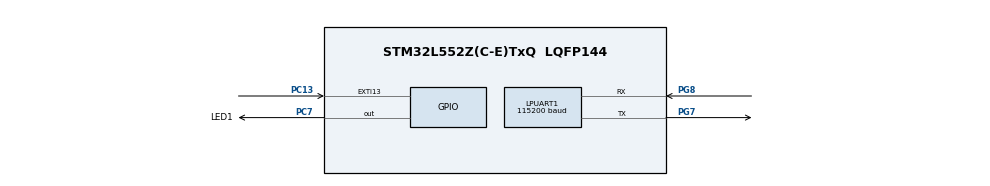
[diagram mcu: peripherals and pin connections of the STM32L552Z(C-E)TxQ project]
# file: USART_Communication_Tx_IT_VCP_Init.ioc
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LPUART1.BaudRate=115200
LPUART1.DMADisableonRxErrorParam-Asynchronous=UART_ADVFEATURE_DMA_ENABLEONRXERROR
LPUART1.DataInvertParam-Asynchronous=UART_ADVFEATURE_DATAINV_DISABLE
LPUART1.MSBFirstParam-Asynchronous=UART_ADVFEATURE_MSBFIRST_DISABLE
LPUART1.Mode-Asynchronous=UART_MODE_TX_RX
LPUART1.OneBitSampling=UART_ONE_BIT_SAMPLE_DISABLE
LPUART1.OverrunDisableParam-Asynchronous=UART_ADVFEATURE_OVERRUN_ENABLE
LPUART1.Parity-Asynchronous=UART_PARITY_NONE
LPUART1.RXFIFOThreshold-Asynchronous=UART_RXFIFO_THRESHOLD_1_8
LPUART1.RxPinLevelInvertParam-Asynchronous=UART_ADVFEATURE_RXINV_DISABLE
LPUART1.StopBits-Asynchronous=UART_STOPBITS_1
LPUART1.SwapParam-Asynchronous=UART_ADVFEATURE_SWAP_DISABLE
LPUART1.TXFIFOThreshold-Asynchronous=UART_TXFIFO_THRESHOLD_1_8
LPUART1.TxPinLevelInvertParam-Asynchronous=UART_ADVFEATURE_TXINV_DISABLE
LPUART1.WordLength=UART_WORDLENGTH_8B
Mcu.Family=STM32L5
Mcu.Name=STM32L552Z(C-E)TxQ
Mcu.Package=LQFP144
Mcu.TrustZone=disable
NVIC.EXTI13_IRQn=true\:3\:0\:true\:false\:true\:true\:true\:true
NVIC.LPUART1_IRQn=true\:0\:0\:false\:false\:true\:true\:true\:true
NVIC.PriorityGroup=NVIC_PRIORITYGROUP_3
PC13.Signal=GPXTI13
PC7.GPIO_Label=LED1
PC7.GPIO_PuPd=GPIO_NOPULL
PC7.Signal=GPIO_Output
PG7.GPIO_PuPd=GPIO_PULLUP
PG7.GPIO_Speed=GPIO_SPEED_FREQ_HIGH
PG7.Mode=Asynchronous
PG7.Signal=LPUART1_TX
PG8.GPIO_PuPd=GPIO_PULLUP
PG8.GPIO_Speed=GPIO_SPEED_FREQ_HIGH
PG8.Mode=Asynchronous
PG8.Signal=LPUART1_RX
ProjectManager.HeapSize=0x200
ProjectManager.StackSize=0x400
ProjectManager.TargetToolchain=EWARM V8.32
RCC.ADCCLockSelection=RCC_ADCCLKSOURCE_SYSCLK
RCC.ADCFreq_Value=110000000
RCC.AHBFreq_Value=110000000
RCC.APB1Freq_Value=110000000
RCC.APB1TimFreq_Value=110000000
RCC.APB2Freq_Value=110000000
RCC.APB2TimFreq_Value=110000000
RCC.CortexFreq_Value=110000000
RCC.HCLKFreq_Value=110000000
RCC.HSE_VALUE=16000000
RCC.HSI48_VALUE=48000000
RCC.HSI_VALUE=16000000
RCC.LSE_VALUE=32768
RCC.MSI_VALUE=4000000
RCC.PLLN=55
RCC.PLLSAI1N=24
RCC.RTCClockSelection=RCC_RTCCLKSOURCE_LSE
RCC.SYSCLKFreq_VALUE=110000000
RCC.SYSCLKSource=RCC_SYSCLKSOURCE_PLLCLK
RCC.USBFreq_Value=48000000
RCC.VCOOutputFreq_Value=220000000
VP_ICACHE_VS_ICACHE.Mode=DirectMappedCache
VP_PWR_VS_DBSignals.Mode=DisableDeadBatterySignals
board=custom

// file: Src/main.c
/* USER CODE BEGIN Header */
/**
  ******************************************************************************
  * @file    Examples_LL/USART/USART_Communication_Tx_IT_VCP_Init/Src/main.c
  * @author  MCD Application Team
  * @brief   This example describes how to send bytes over LPUART IP using
  *          the STM32L5xx USART LL API.
  *          Peripheral initialization done using LL unitary services functions.
  ******************************************************************************
  * @attention
  *
  * Copyright (c) 2019 STMicroelectronics.
  * All rights reserved.
  *
  * This software is licensed under terms that can be found in the LICENSE file
  * in the root directory of this software component.
  * If no LICENSE file comes with this software, it is provided AS-IS.
  *
  ******************************************************************************
  */
/* USER CODE END Header */
#include "main.h"

/* USER CODE BEGIN PV */

__IO uint8_t ubButtonPress = 0;
__IO uint8_t ubSend = 0;
const uint8_t aStringToSend[] = "STM32L5xx USART LL API Example : TX in IT mode\r\nConfiguration UART 115200 bps, 8 data bit/1 stop bit/No parity/No HW flow control\r\n";
uint8_t ubSizeToSend = sizeof(aStringToSend);

/* USER CODE END PV */

void SystemClock_Config(void);
static void MX_GPIO_Init(void);
static void MX_ICACHE_Init(void);
static void MX_LPUART1_UART_Init(void);
/* USER CODE BEGIN PFP */
void     LED_On(void);
void     LED_Off(void);
void     LED_Blinking(uint32_t Period);

/* USER CODE END PFP */

int main(void)
{

  /* MCU Configuration--------------------------------------------------------*/

  /* Reset of all peripherals, Initializes the Flash interface and the Systick. */
  LL_APB2_GRP1_EnableClock(LL_APB2_GRP1_PERIPH_SYSCFG);
  LL_APB1_GRP1_EnableClock(LL_APB1_GRP1_PERIPH_PWR);

  /* System interrupt init*/
  NVIC_SetPriorityGrouping(NVIC_PRIORITYGROUP_3);

  /** Disable the internal Pull-Up in Dead Battery pins of UCPD peripheral
  */
  LL_PWR_DisableUCPDDeadBattery();

  /* Configure the system clock */
  SystemClock_Config();

  /* Initialize all configured peripherals */
  MX_GPIO_Init();
  MX_ICACHE_Init();
  MX_LPUART1_UART_Init();
  /* USER CODE BEGIN 2 */

  /* Polling LPUART initialisation */
  while ((!(LL_LPUART_IsActiveFlag_TEACK(LPUART1))) || (!(LL_LPUART_IsActiveFlag_REACK(LPUART1))))
  {
  }

  /* Enable RXNE and Error interrupts */
  LL_LPUART_EnableIT_RXNE(LPUART1);
  LL_LPUART_EnableIT_ERROR(LPUART1);

  /* Set LED1 Off */
  LED_Off();

  /* USER CODE END 2 */

  /* Infinite loop */
  while (1)
  {

  }
}

void SystemClock_Config(void)
{
  LL_FLASH_SetLatency(LL_FLASH_LATENCY_5);
  while(LL_FLASH_GetLatency()!= LL_FLASH_LATENCY_5)
  {
  }

  LL_PWR_SetRegulVoltageScaling(LL_PWR_REGU_VOLTAGE_SCALE0);
  LL_RCC_MSI_Enable();

   /* Wait till MSI is ready */
  while(LL_RCC_MSI_IsReady() != 1)
  {
  }

  LL_RCC_MSI_EnableRangeSelection();
  LL_RCC_MSI_SetRange(LL_RCC_MSIRANGE_6);
  LL_RCC_MSI_SetCalibTrimming(0);
  LL_RCC_PLL_ConfigDomain_SYS(LL_RCC_PLLSOURCE_MSI, LL_RCC_PLLM_DIV_1, 55, LL_RCC_PLLR_DIV_2);
  LL_RCC_PLL_EnableDomain_SYS();
  LL_RCC_PLL_Enable();

   /* Wait till PLL is ready */
  while(LL_RCC_PLL_IsReady() != 1)
  {
  }

   /* Intermediate AHB prescaler 2 when target frequency clock is higher than 80 MHz */
   LL_RCC_SetAHBPrescaler(LL_RCC_SYSCLK_DIV_2);

  LL_RCC_SetSysClkSource(LL_RCC_SYS_CLKSOURCE_PLL);

   /* Wait till System clock is ready */
  while(LL_RCC_GetSysClkSource() != LL_RCC_SYS_CLKSOURCE_STATUS_PLL)
  {
  }

  /* Insure 1us transition state at intermediate medium speed clock*/
  for (__IO uint32_t i = (RCC_MAX_FREQUENCY_MHZ >> 1); i !=0; i--);

  LL_RCC_SetAHBPrescaler(LL_RCC_SYSCLK_DIV_1);
  LL_RCC_SetAPB1Prescaler(LL_RCC_APB1_DIV_1);
  LL_RCC_SetAPB2Prescaler(LL_RCC_APB2_DIV_1);

  LL_Init1msTick(110000000);

  LL_SetSystemCoreClock(110000000);
}

static void MX_ICACHE_Init(void)
{

  /** Enable instruction cache in 1-way (direct mapped cache)
  */
  LL_ICACHE_SetMode(LL_ICACHE_1WAY);
  LL_ICACHE_Enable();

}

static void MX_LPUART1_UART_Init(void)
{

  LL_LPUART_InitTypeDef LPUART_InitStruct = {0};

  LL_GPIO_InitTypeDef GPIO_InitStruct = {0};

  LL_RCC_SetLPUARTClockSource(LL_RCC_LPUART1_CLKSOURCE_PCLK1);

  /* Peripheral clock enable */
  LL_APB1_GRP2_EnableClock(LL_APB1_GRP2_PERIPH_LPUART1);

  LL_AHB2_GRP1_EnableClock(LL_AHB2_GRP1_PERIPH_GPIOG);
  LL_PWR_EnableVddIO2();
  /**LPUART1 GPIO Configuration
  PG7   ------> LPUART1_TX
  PG8   ------> LPUART1_RX
  */
  GPIO_InitStruct.Pin = LL_GPIO_PIN_7|LL_GPIO_PIN_8;
  GPIO_InitStruct.Mode = LL_GPIO_MODE_ALTERNATE;
  GPIO_InitStruct.Speed = LL_GPIO_SPEED_FREQ_HIGH;
  GPIO_InitStruct.OutputType = LL_GPIO_OUTPUT_PUSHPULL;
  GPIO_InitStruct.Pull = LL_GPIO_PULL_UP;
  GPIO_InitStruct.Alternate = LL_GPIO_AF_8;
  LL_GPIO_Init(GPIOG, &GPIO_InitStruct);

  /* LPUART1 interrupt Init */
  NVIC_SetPriority(LPUART1_IRQn, NVIC_EncodePriority(NVIC_GetPriorityGrouping(),0, 0));
  NVIC_EnableIRQ(LPUART1_IRQn);

  LPUART_InitStruct.PrescalerValue = LL_LPUART_PRESCALER_DIV1;
  LPUART_InitStruct.BaudRate = 115200;
  LPUART_InitStruct.DataWidth = LL_LPUART_DATAWIDTH_8B;
  LPUART_InitStruct.StopBits = LL_LPUART_STOPBITS_1;
  LPUART_InitStruct.Parity = LL_LPUART_PARITY_NONE;
  LPUART_InitStruct.TransferDirection = LL_LPUART_DIRECTION_TX_RX;
  LPUART_InitStruct.HardwareFlowControl = LL_LPUART_HWCONTROL_NONE;
  LL_LPUART_Init(LPUART1, &LPUART_InitStruct);
  LL_LPUART_SetTXFIFOThreshold(LPUART1, LL_LPUART_FIFOTHRESHOLD_1_8);
  LL_LPUART_SetRXFIFOThreshold(LPUART1, LL_LPUART_FIFOTHRESHOLD_1_8);
  LL_LPUART_DisableFIFO(LPUART1);
  LL_LPUART_Enable(LPUART1);

}

static void MX_GPIO_Init(void)
{
  LL_EXTI_InitTypeDef EXTI_InitStruct = {0};
  LL_GPIO_InitTypeDef GPIO_InitStruct = {0};

  /* GPIO Ports Clock Enable */
  LL_AHB2_GRP1_EnableClock(LL_AHB2_GRP1_PERIPH_GPIOC);
  LL_AHB2_GRP1_EnableClock(LL_AHB2_GRP1_PERIPH_GPIOG);
  LL_PWR_EnableVddIO2();

  /**/
  LL_GPIO_ResetOutputPin(LED1_GPIO_Port, LED1_Pin);

  /**/
  LL_EXTI_SetEXTISource(LL_EXTI_EXTI_PORTC, LL_EXTI_EXTI_LINE13);

  /**/
  EXTI_InitStruct.Line_0_31 = LL_EXTI_LINE_13;
  EXTI_InitStruct.Line_32_63 = LL_EXTI_LINE_NONE;
  EXTI_InitStruct.LineCommand = ENABLE;
  EXTI_InitStruct.Mode = LL_EXTI_MODE_IT;
  EXTI_InitStruct.Trigger = LL_EXTI_TRIGGER_RISING;
  LL_EXTI_Init(&EXTI_InitStruct);

  /**/
  LL_GPIO_SetPinPull(GPIOC, LL_GPIO_PIN_13, LL_GPIO_PULL_NO);

  /**/
  LL_GPIO_SetPinMode(GPIOC, LL_GPIO_PIN_13, LL_GPIO_MODE_INPUT);

  /**/
  GPIO_InitStruct.Pin = LED1_Pin;
  GPIO_InitStruct.Mode = LL_GPIO_MODE_OUTPUT;
  GPIO_InitStruct.Speed = LL_GPIO_SPEED_FREQ_LOW;
  GPIO_InitStruct.OutputType = LL_GPIO_OUTPUT_PUSHPULL;
  GPIO_InitStruct.Pull = LL_GPIO_PULL_NO;
  LL_GPIO_Init(LED1_GPIO_Port, &GPIO_InitStruct);

  /* EXTI interrupt init*/
  NVIC_SetPriority(EXTI13_IRQn, NVIC_EncodePriority(NVIC_GetPriorityGrouping(),3, 0));
  NVIC_EnableIRQ(EXTI13_IRQn);

}

/* USER CODE BEGIN 4 */

/**
  * @brief  Turn-on LED1.
  * @param  None
  * @retval None
  */
void LED_On(void)
{
  /* Turn LED1 on */
  LL_GPIO_SetOutputPin(LED1_GPIO_Port, LED1_Pin);
}

/**
  * @brief  Turn-off LED1.
  * @param  None
  * @retval None
  */
void LED_Off(void)
{
  /* Turn LED1 off */
  LL_GPIO_ResetOutputPin(LED1_GPIO_Port, LED1_Pin);
}

/**
  * @brief  Set LED1 to Blinking mode for an infinite loop (toggle period based on value provided as input parameter).
  * @param  Period : Period of time (in ms) between each toggling of LED
  *   This parameter can be user defined values. Pre-defined values used in that example are :
  *     @arg LED_BLINK_FAST : Fast Blinking
  *     @arg LED_BLINK_SLOW : Slow Blinking
  *     @arg LED_BLINK_ERROR : Error specific Blinking
  * @retval None
  */
void LED_Blinking(uint32_t Period)
{
  /* Toggle LED1 in an infinite loop */
  while (1)
  {
    LL_GPIO_TogglePin(LED1_GPIO_Port, LED1_Pin);
    LL_mDelay(Period);
  }
}

/******************************************************************************/
/*   USER IRQ HANDLER TREATMENT Functions                                     */
/******************************************************************************/
/**
  * @brief  Function to manage User push-button
  * @param  None
  * @retval None
  */
void UserButton_Callback(void)
{
  /* Start transfer only if not already ongoing */
  if (ubSend == 0)
  {
    /* Start LPUART transmission : Will initiate TXE interrupt after TDR register is empty */
    LL_LPUART_TransmitData8(LPUART1, aStringToSend[ubSend++]);

    /* Enable TXE interrupt */
    LL_LPUART_EnableIT_TXE(LPUART1);
  }
}

/**
  * @brief  Function called for achieving next TX Byte sending
  * @param  None
  * @retval None
  */
void LPUART_TXEmpty_Callback(void)
{
  if (ubSend == (ubSizeToSend - 1))
  {
    /* Disable TXE interrupt */
    LL_LPUART_DisableIT_TXE(LPUART1);

    /* Enable TC interrupt */
    LL_LPUART_EnableIT_TC(LPUART1);
  }

  /* Fill TDR with a new char */
  LL_LPUART_TransmitData8(LPUART1, aStringToSend[ubSend++]);
}

/**
  * @brief  Function called at completion of last byte transmission
  * @param  None
  * @retval None
  */
void LPUART_CharTransmitComplete_Callback(void)
{
  if (ubSend == sizeof(aStringToSend))
  {
    ubSend = 0;

    /* Disable TC interrupt */
    LL_LPUART_DisableIT_TC(LPUART1);

    /* Turn LED1 On at end of transfer : Tx sequence completed successfully */
    LED_On();
  }
}

/**
  * @brief  Function called in case of error detected in LPUART IT Handler
  * @param  None
  * @retval None
  */
void Error_Callback(void)
{
  __IO uint32_t isr_reg;

  /* Disable LPUARTx_IRQn */
  NVIC_DisableIRQ(LPUART1_IRQn);

  /* Error handling example :
    - Read LPUART ISR register to identify flag that leads to IT raising
    - Perform corresponding error handling treatment according to flag
  */
  isr_reg = LL_LPUART_ReadReg(LPUART1, ISR);
  if (isr_reg & LL_LPUART_ISR_NE)
  {
    /* case Noise Error flag is raised : ... */
    LED_Blinking(LED_BLINK_FAST);
  }
  else
  {
    /* Unexpected IT source : Set LED to Blinking mode to indicate error occurs */
    LED_Blinking(LED_BLINK_ERROR);
  }
}

/* USER CODE END 4 */

void Error_Handler(void)
{
  while(1)
  {
  }
}

#ifdef  USE_FULL_ASSERT
/**
  * @brief  Reports the name of the source file and the source line number
  *         where the assert_param error has occurred.
  * @param  file: pointer to the source file name
  * @param  line: assert_param error line source number
  * @retval None
  */
void assert_failed(uint8_t *file, uint32_t line)
{
  /* USER CODE BEGIN 6 */
  /* User can add his own implementation to report the file name and line number,
     ex: printf("Wrong parameters value: file %s on line %d\r\n", file, line) */
  /* Infinite loop */
  while (1)
  {}
  /* USER CODE END 6 */
}
#endif /* USE_FULL_ASSERT */
